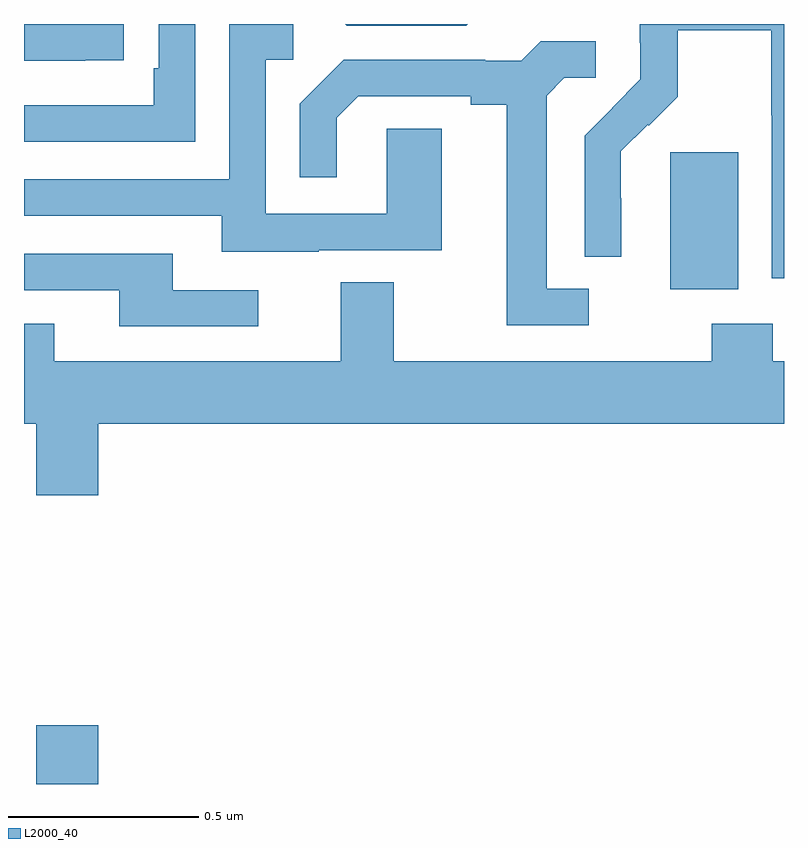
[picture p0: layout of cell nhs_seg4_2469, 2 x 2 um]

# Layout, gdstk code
import gdstk
lib = gdstk.Library(unit=1e-6, precision=1e-09)
def R(c, l, rs):  # rectangles x0, y0, x1, y1
    for r in rs: c.add(gdstk.rectangle(r[:2], r[2:], *l))
def P(c, l, *ps):  # polygons
    for p in ps: c.add(gdstk.Polygon(p, *l))
L2000_40 = (2000, 40)

nhs_seg4_2469 = lib.new_cell('nhs_seg4_2469')
R(nhs_seg4_2469, L2000_40, [(141.032,767.9,141.196,768.055), (142.7,769.202,142.879,769.563)])
P(nhs_seg4_2469, L2000_40, [(142.168,769.9),(141.845,769.9),(141.849,769.896),(142.164,769.896)],
  [(143,769.9),(142.62,769.9),(142.62,769.851),(142.622,769.851),(142.622,769.754),(142.548,769.68),(142.549,769.679),(142.476,769.606),(142.476,769.288),(142.572,769.288),(142.572,769.442),(142.571,769.442),(142.571,769.565),(142.641,769.635),(142.644,769.632),(142.721,769.709),(142.721,769.884),(142.966,769.884),(142.966,769.66),(142.968,769.66),(142.968,769.231),(143,769.231)],
  [(141.775,769.305),(142.099,769.305),(142.099,769.625),(141.954,769.625),(141.954,769.401),(141.636,769.401),(141.636,769.806),(141.709,769.806),(141.709,769.9),(141.54,769.9),(141.54,769.491),(141,769.491),(141,769.395),(141.521,769.395),(141.521,769.301),(141.775,769.301)],
  [(141.161,769.804),(141.263,769.804),(141.263,769.9),(141.167,769.9),(141.167,769.899),(141,769.899),(141,769.803),(141.161,769.803)],
  [(141.45,769.9),(141.354,769.9),(141.354,769.783),(141.341,769.783),(141.341,769.686),(141,769.686),(141,769.59),(141.45,769.59)],
  [(142.486,769.203),(142.375,769.203),(142.375,769.711),(142.422,769.758),(142.504,769.758),(142.504,769.855),(142.36,769.855),(142.308,769.803),(142.214,769.803),(142.214,769.806),(141.842,769.806),(141.726,769.69),(141.726,769.497),(141.823,769.497),(141.823,769.653),(141.88,769.71),(142.175,769.71),(142.175,769.688),(142.271,769.688),(142.271,769.107),(142.486,769.107)],
  [(141.616,769.2),(141.391,769.2),(141.391,769.296),(141,769.296),(141,769.2),(141.251,769.2),(141.251,769.104),(141.616,769.104)],
  [(141.196,768.848),(143,768.848),(143,769.012),(142.97,769.012),(142.97,769.111),(142.81,769.111),(142.81,769.012),(141.973,769.012),(141.973,769.22),(141.833,769.22),(141.833,769.012),(141.079,769.012),(141.079,769.111),(141,769.111),(141,768.848),(141.032,768.848),(141.032,768.66),(141.196,768.66)])

lib.write_gds('nhs_seg4_2469.gds')
